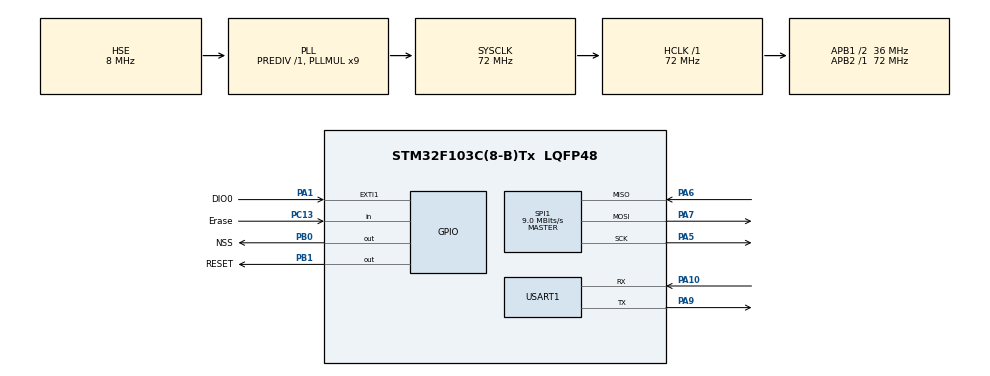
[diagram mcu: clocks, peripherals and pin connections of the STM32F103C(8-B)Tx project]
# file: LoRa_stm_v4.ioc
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Mcu.Family=STM32F1
Mcu.Name=STM32F103C(8-B)Tx
Mcu.Package=LQFP48
NVIC.PriorityGroup=NVIC_PRIORITYGROUP_4
PA1.GPIO_Label=DIO0
PA1.Signal=GPXTI1
PA10.Mode=Asynchronous
PA10.Signal=USART1_RX
PA13.Mode=Serial_Wire
PA13.Signal=SYS_JTMS-SWDIO
PA14.Mode=Serial_Wire
PA14.Signal=SYS_JTCK-SWCLK
PA5.Mode=Full_Duplex_Master
PA5.Signal=SPI1_SCK
PA6.Mode=Full_Duplex_Master
PA6.Signal=SPI1_MISO
PA7.Mode=Full_Duplex_Master
PA7.Signal=SPI1_MOSI
PA9.Mode=Asynchronous
PA9.Signal=USART1_TX
PB0.GPIO_Label=NSS
PB0.PinState=GPIO_PIN_SET
PB0.Signal=GPIO_Output
PB1.GPIO_Label=RESET
PB1.PinState=GPIO_PIN_SET
PB1.Signal=GPIO_Output
PC13-TAMPER-RTC.GPIO_Label=Erase
PC13-TAMPER-RTC.Signal=GPIO_Input
PD0-OSC_IN.Mode=HSE-External-Oscillator
PD0-OSC_IN.Signal=RCC_OSC_IN
PD1-OSC_OUT.Mode=HSE-External-Oscillator
PD1-OSC_OUT.Signal=RCC_OSC_OUT
ProjectManager.HeapSize=0x200
ProjectManager.StackSize=0x400
ProjectManager.TargetToolchain=STM32CubeIDE
RCC.AHBFreq_Value=72000000
RCC.APB1CLKDivider=RCC_HCLK_DIV2
RCC.APB1Freq_Value=36000000
RCC.APB1TimFreq_Value=72000000
RCC.APB2Freq_Value=72000000
RCC.APB2TimFreq_Value=72000000
RCC.HCLKFreq_Value=72000000
RCC.PLLMUL=RCC_PLL_MUL9
RCC.PLLSourceVirtual=RCC_PLLSOURCE_HSE
RCC.SYSCLKFreq_VALUE=72000000
RCC.SYSCLKSource=RCC_SYSCLKSOURCE_PLLCLK
RCC.USBFreq_Value=72000000
SPI1.BaudRatePrescaler=SPI_BAUDRATEPRESCALER_8
SPI1.CalculateBaudRate=9.0 MBits/s
SPI1.Direction=SPI_DIRECTION_2LINES
SPI1.Mode=SPI_MODE_MASTER
SPI1.VirtualType=VM_MASTER
USART1.VirtualMode=VM_ASYNC
board=custom

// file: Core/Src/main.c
/* USER CODE BEGIN Header */
/**
  ******************************************************************************
  * @file           : main.c
  * @brief          : Main program body
  ******************************************************************************
  * @attention
  *
  * Copyright (c) 2026 STMicroelectronics.
  * All rights reserved.
  *
  * This software is licensed under terms that can be found in the LICENSE file
  * in the root directory of this software component.
  * If no LICENSE file comes with this software, it is provided AS-IS.
  *
  ******************************************************************************
  */
/* USER CODE END Header */
#include "main.h"
#include "spi.h"
#include "usart.h"
#include "gpio.h"

/* USER CODE BEGIN Includes */
#include <string.h>
#include <stdio.h>
#include "LoRa.h"
#include <stdint.h>
#include<ctype.h>
#include <stdlib.h>
#include "stm32f1xx.h"
#include "stm32f1xx_hal_flash.h"
#include "stm32f1xx_hal_flash_ex.h"
#define IRQ_RX_DONE        0x40
#define IRQ_TX_DONE        0x08
#define IRQ_PAYLOAD_CRCERR 0x20
#define IRQ_RX_TIMEOUT     0x80
/* USER CODE END Includes */

/* USER CODE BEGIN PTD */
#define FLASH_STORAGE_START  0x0800FC00  // Last 1KB of flash
#define FLASH_MAGIC_NUMBER   0x55AA1234

typedef struct {
    uint32_t magic;          // Validation magic number
    uint32_t counter;        // Persistent counter
    uint32_t device_id;      // Persistent device ID
    uint32_t checksum;       // Simple checksum
} stored_data_t;
/* USER CODE END PTD */

/* USER CODE BEGIN PV */
LoRa myLoRa;
uint16_t LoRa_status;
uint32_t uid[3];
uint8_t Master = 01;
int nodeId = 00;
/* USER CODE END PV */

void SystemClock_Config(void);
/* USER CODE BEGIN PFP */
void flash_erase_node_page(void);
uint8_t flash_read_node_id(void);
void flash_save_node_id(uint8_t node_id);
uint32_t calculate_checksum(uint32_t counter, uint32_t device_id);
char* trim_whitespace(char* str);
void printu(const char *msg);
void print_reset_reason(void);
void STM32_GetUID(uint32_t uid[3]);
void req_Registration(void);
uint8_t wait_for_ack(uint16_t timeout_ms);
uint8_t LoRa_Transmit(uint8_t dst, uint8_t src, const char *payload);
void flush_rx();
void print_hex(const uint8_t *data, uint8_t len);
uint8_t is_printable_string(const uint8_t *data, uint8_t len);
void LoRa_StartPollingnode(void);
void handle_req_data(uint8_t src_id);
void flash_clear_storage(void);
void check_clear_button(void);

/* USER CODE END PFP */

int main(void)
{

  /* MCU Configuration--------------------------------------------------------*/

  /* Reset of all peripherals, Initializes the Flash interface and the Systick. */
  HAL_Init();

  /* USER CODE BEGIN Init */
  MX_GPIO_Init();
  MX_SPI1_Init();
  MX_USART1_UART_Init();
  /* USER CODE END Init */

  /* Configure the system clock */
  SystemClock_Config();

  /* Initialize all configured peripherals */
  MX_GPIO_Init();
  MX_SPI1_Init();
  MX_USART1_UART_Init();
  /* USER CODE BEGIN 2 */

	/* ---------- SX127x RESET ---------- */
	HAL_GPIO_WritePin(RESET_GPIO_Port, RESET_Pin, GPIO_PIN_RESET);
	HAL_Delay(10);
	HAL_GPIO_WritePin(RESET_GPIO_Port, RESET_Pin, GPIO_PIN_SET);
	HAL_Delay(10);

	/* ---------- NSS HIGH (IDLE) ---------- */
	HAL_GPIO_WritePin(NSS_GPIO_Port, NSS_Pin, GPIO_PIN_SET);

	/* ---------- INIT LoRa STRUCT ---------- */
	myLoRa = newLoRa();
	myLoRa.CS_port    = NSS_GPIO_Port;
	myLoRa.CS_pin     = NSS_Pin;
	myLoRa.reset_port = RESET_GPIO_Port;
	myLoRa.reset_pin  = RESET_Pin;
	myLoRa.DIO0_port  = DIO0_GPIO_Port;
	myLoRa.DIO0_pin   = DIO0_Pin;
	myLoRa.hSPIx      = &hspi1;

	LoRa_status = LoRa_init(&myLoRa);
	LoRa_setSyncWord(&myLoRa, 0x34);
	if (LoRa_status != LORA_OK)
	{
	  char err[64];
	  sprintf(err, "LoRa INIT FAILED (%d)\r\n", LoRa_status);
	  printu(err);

	  while (1)
	  {
		  check_clear_button();
	  }
	}

	STM32_GetUID(uid);

	uint8_t saved_node_id = flash_read_node_id();
	if (saved_node_id != 0xFF) {  // 0xFF means invalid/uninitialized
	    nodeId = saved_node_id;
	    char msg[64];
	    sprintf(msg, "Restored Node ID from flash: %02d\r\n", nodeId);
	    printu(msg);
	} else {
	    printu("No valid Node ID in flash\r\n");
	}

	LoRa_enableCRC(&myLoRa, 1);
	LoRa_setCRC(&myLoRa, 1);

	// Set CAD to return to standby mode after completion
	LoRa_setCADExitMode(&myLoRa, 0);

	// Set CAD symbols (optional, default is 1)
	LoRa_setCADSymbols(&myLoRa, 1);

  /* USER CODE END 2 */

  /* Infinite loop */
  /* USER CODE BEGIN WHILE */
  while (1)
  {
	  check_clear_button();

	  if(nodeId>0)
	  {
		  LoRa_StartPollingnode();
	  }
	  else
	  {
		  req_Registration();// NEW: Call polling function in main loop
	  }
    /* USER CODE END WHILE */

  }
}

void SystemClock_Config(void)
{
  RCC_OscInitTypeDef RCC_OscInitStruct = {0};
  RCC_ClkInitTypeDef RCC_ClkInitStruct = {0};

  /** Initializes the RCC Oscillators according to the specified parameters
  * in the RCC_OscInitTypeDef structure.
  */
  RCC_OscInitStruct.OscillatorType = RCC_OSCILLATORTYPE_HSE;
  RCC_OscInitStruct.HSEState = RCC_HSE_ON;
  RCC_OscInitStruct.HSEPredivValue = RCC_HSE_PREDIV_DIV1;
  RCC_OscInitStruct.HSIState = RCC_HSI_ON;
  RCC_OscInitStruct.PLL.PLLState = RCC_PLL_ON;
  RCC_OscInitStruct.PLL.PLLSource = RCC_PLLSOURCE_HSE;
  RCC_OscInitStruct.PLL.PLLMUL = RCC_PLL_MUL9;
  if (HAL_RCC_OscConfig(&RCC_OscInitStruct) != HAL_OK)
  {
    Error_Handler();
  }

  /** Initializes the CPU, AHB and APB buses clocks
  */
  RCC_ClkInitStruct.ClockType = RCC_CLOCKTYPE_HCLK|RCC_CLOCKTYPE_SYSCLK
                              |RCC_CLOCKTYPE_PCLK1|RCC_CLOCKTYPE_PCLK2;
  RCC_ClkInitStruct.SYSCLKSource = RCC_SYSCLKSOURCE_PLLCLK;
  RCC_ClkInitStruct.AHBCLKDivider = RCC_SYSCLK_DIV1;
  RCC_ClkInitStruct.APB1CLKDivider = RCC_HCLK_DIV2;
  RCC_ClkInitStruct.APB2CLKDivider = RCC_HCLK_DIV1;

  if (HAL_RCC_ClockConfig(&RCC_ClkInitStruct, FLASH_LATENCY_2) != HAL_OK)
  {
    Error_Handler();
  }
}

/* USER CODE BEGIN 4 */

// Helper function to trim whitespace
char* trim_whitespace(char* str) {
    char* end;

    // Trim leading space
    while(isspace((unsigned char)*str)) str++;

    if(*str == 0) return str;

    // Trim trailing space
    end = str + strlen(str) - 1;
    while(end > str && isspace((unsigned char)*end)) end--;

    // Write new null terminator
    *(end + 1) = 0;

    return str;
}

void printu(const char *msg)
{
  HAL_UART_Transmit(
      &huart1,
      (uint8_t*)msg,
      strlen(msg),
      100
  );
}

// Print data in hex format
void print_hex(const uint8_t *data, uint8_t len)
{
  char hex[4];
  for(uint8_t i = 0; i < len; i++) {
    sprintf(hex, "%02X ", data[i]);
    printu(hex);
  }
}

// Check if data looks like a printable string
uint8_t is_printable_string(const uint8_t *data, uint8_t len)
{
  uint8_t printable_count = 0;
  for(uint8_t i = 0; i < len; i++) {
    if(data[i] >= 32 && data[i] <= 126) {
      printable_count++;
    }
  }
  return (printable_count * 100 / len) > 80;
}

void STM32_GetUID(uint32_t uid[3])
{
    uid[0] = *(uint32_t*)0x1FFFF7E8;
    uid[1] = *(uint32_t*)0x1FFFF7EC;
    uid[2] = *(uint32_t*)0x1FFFF7F0;
}

void print_reset_reason(void)
{
    uint32_t flags = RCC->CSR;
    if(flags & RCC_CSR_LPWRRSTF) {
        printu("Reset Reason: Low Power (Brown-out)\r\n");
    } else if(flags & RCC_CSR_WWDGRSTF) {
        printu("Reset Reason: Window Watchdog\r\n");
    } else if(flags & RCC_CSR_IWDGRSTF) {
        printu("Reset Reason: Independent Watchdog\r\n");
    } else if(flags & RCC_CSR_SFTRSTF) {
        printu("Reset Reason: Software Reset\r\n");
    } else if(flags & RCC_CSR_PORRSTF) {
        printu("Reset Reason: Power-on Reset\r\n");
    } else if(flags & RCC_CSR_PINRSTF) {
        printu("Reset Reason: External Pin Reset\r\n");
    } else {
        printu("Reset Reason: Unknown\r\n");
    }
    RCC->CSR |= RCC_CSR_RMVF;
}

void req_Registration(void)
{
	char reg_payload[64];
	uint8_t cadResult = LoRa_performCAD(&myLoRa, 100);
	if(cadResult == 0)
	{
		snprintf(reg_payload,sizeof(reg_payload),"%02d | %08lX-%08lX-%08lX | REQ_ADDRESS",
				nodeId,uid[0], uid[1], uid[2]);
		LoRa_transmit(&myLoRa, (uint8_t *)reg_payload, strlen(reg_payload), 200);
		HAL_Delay(500);
		printu("sent \r\n");
		HAL_Delay(500);
	    wait_for_ack(5000);
	}
	else
	{
		printu("skipped channel busy \r\n");
	}
}

uint8_t wait_for_ack(uint16_t timeout_ms)
{
    printu("waiting for ack... \r\n");
    uint8_t rxBuf[128];
    uint32_t start = HAL_GetTick();

    // Clear IRQ flags first
    LoRa_write(&myLoRa, RegIrqFlags, 0xFF);

    LoRa_gotoMode(&myLoRa, STNBY_MODE);
    HAL_Delay(100);
    LoRa_startReceiving(&myLoRa);

    printu("receiving \r\n");

    while ((HAL_GetTick() - start) < timeout_ms)
    {
        // Check if packet received (poll IRQ flags)
        uint8_t irq = LoRa_read(&myLoRa, RegIrqFlags);

        // ❌ CRC error → discard packet
        if (irq & IRQ_PAYLOAD_CRCERR)
        {
            LoRa_write(&myLoRa, RegIrqFlags, 0xFF);
            LoRa_startReceiving(&myLoRa);
            continue;
        }

        // ❌ RX timeout → restart RX
        if (irq & IRQ_RX_TIMEOUT)
        {
            LoRa_write(&myLoRa, RegIrqFlags, 0xFF);
            LoRa_startReceiving(&myLoRa);
            continue;
        }

        // ✅ Valid RX
        if (irq & IRQ_RX_DONE)
        {
            uint8_t fifoAddr = LoRa_read(&myLoRa, RegFiFoRxCurrentAddr);
            LoRa_write(&myLoRa, RegFiFoAddPtr, fifoAddr);
            uint8_t len = LoRa_receive(&myLoRa, rxBuf, sizeof(rxBuf));

            LoRa_write(&myLoRa, RegIrqFlags, 0xFF);

            if (len > 0)
            {
                // FIRST: Print raw data in HEX format to see what we're actually receiving
                printu("Raw HEX: ");
                print_hex(rxBuf, len > 40 ? 40 : len);
                printu("\r\n");

                // SECOND: Only print as string if it looks like printable text
                if (is_printable_string(rxBuf, len))
                {
                    printu("As string: ");
                    // Null terminate for printing (safely)
                    if (len < sizeof(rxBuf)) {
                        rxBuf[len] = '\0';
                        printu((char *)rxBuf);
                    } else {
                        rxBuf[sizeof(rxBuf) - 1] = '\0';
                        printu((char *)rxBuf);
                    }
                    printu("\r\n");
                }
                else
                {
                    printu("(Not a printable string)\r\n");
                }

                // Now parse the data regardless of whether it's printable
                // Try to parse with manual string processing
                char *ptr = (char *)rxBuf;

                // Skip leading spaces
                while (*ptr == ' ') ptr++;

                // Parse first UID
                uint32_t r_uid0 = 0;
                for (int i = 0; i < 8 && isxdigit((unsigned char)*ptr); i++) {
                    char hex[3] = {*ptr, '\0', '\0'};
                    r_uid0 = (r_uid0 << 4) | strtol(hex, NULL, 16);
                    ptr++;
                }

                // Skip dash
                if (*ptr == '-') ptr++;

                // Parse second UID
                uint32_t r_uid1 = 0;
                for (int i = 0; i < 8 && isxdigit((unsigned char)*ptr); i++) {
                    char hex[3] = {*ptr, '\0', '\0'};
                    r_uid1 = (r_uid1 << 4) | strtol(hex, NULL, 16);
                    ptr++;
                }

                // Skip dash
                if (*ptr == '-') ptr++;

                // Parse third UID
                uint32_t r_uid2 = 0;
                for (int i = 0; i < 8 && isxdigit((unsigned char)*ptr); i++) {
                    char hex[3] = {*ptr, '\0', '\0'};
                    r_uid2 = (r_uid2 << 4) | strtol(hex, NULL, 16);
                    ptr++;
                }

                // Skip spaces and pipe
                while (*ptr == ' ') ptr++;
                if (*ptr == '|') ptr++;
                while (*ptr == ' ') ptr++;

                // Parse assigned ID
                uint8_t assignedId = 0;
                if (isdigit((unsigned char)*ptr)) {
                    assignedId = (*ptr - '0') * 10;
                    ptr++;
                    if (isdigit((unsigned char)*ptr)) {
                        assignedId += (*ptr - '0');
                        ptr++;
                    }
                }

                // Skip spaces and pipe
                while (*ptr == ' ') ptr++;
                if (*ptr == '|') ptr++;
                while (*ptr == ' ') ptr++;

                // Parse command
                char cmd[32] = {0};
                int cmd_idx = 0;
                while (*ptr && *ptr != ' ' && *ptr != '\r' && *ptr != '\n' && cmd_idx < 31) {
                    cmd[cmd_idx++] = *ptr;
                    ptr++;
                }
                cmd[cmd_idx] = '\0';

                // Debug parsed values
                char debug[150];
                sprintf(debug, "Manual parse: uid0=%08lX, uid1=%08lX, uid2=%08lX, id=%d, cmd=",
                        r_uid0, r_uid1, r_uid2, assignedId);
                printu(debug);

                // Only print command if it's printable
                if (is_printable_string((uint8_t*)cmd, strlen(cmd)))
                {
                    printu(cmd);
                }
                else
                {
                    printu("[BINARY DATA]");
                }
                printu("\r\n");

                sprintf(debug, "Expected UID: %08lX-%08lX-%08lX\r\n",
                        uid[0], uid[1], uid[2]);
                printu(debug);

                // Check if it's our ACK
                if (strcmp(cmd, "ACK_ADDRESS") == 0)
                {
                    if (r_uid0 == uid[0] && r_uid1 == uid[1] && r_uid2 == uid[2])
                    {
                        nodeId = assignedId;
                        printu("Node ID assigned: ");
                        char b[8];
                        sprintf(b, "%02d\r\n", nodeId);
                        printu(b);

                        LoRa_gotoMode(&myLoRa, STNBY_MODE);
                        HAL_Delay(10);

                        // Send confirmation back
                        LoRa_Transmit(Master, nodeId, "ACK_ADDRESS");
                        // SAVE TO FLASH if nodeId > 0
						if (nodeId > 0) {
							flash_save_node_id(nodeId);
							printu("Node ID saved to flash\r\n");
						}
                        return nodeId;
                    }
                    else
                    {
                        printu("UID mismatch!\r\n");
                    }
                }
                else
                {
                    printu("Wrong command\r\n");
                }

                // Restart receiving
                LoRa_startReceiving(&myLoRa);
            }
        }

        HAL_Delay(1);
    }

    printu("Timeout waiting for ACK\r\n");
    LoRa_gotoMode(&myLoRa, STNBY_MODE);
    return 0xFF;
}

uint8_t LoRa_Transmit(uint8_t dst, uint8_t src, const char *payload)
{
    char txBuf[64];

    snprintf(txBuf, sizeof(txBuf),
             "%02d | %02d | %s",
             dst,
             src,
             payload);
    printu("TX -> ");
    printu(txBuf);
    printu("\r\n");

    uint16_t tx = LoRa_transmit(
                    &myLoRa,
                    (uint8_t *)txBuf,
                    strlen(txBuf),
                    100
                  );
    if(tx==1)
    {
    	return 1;
    }
    else
    {
    	return 0;
    }
}

// NEW: Main polling function with packet filtering
// NEW: Optimized polling function with time-based checking
// NEW: Simple and reliable polling function
void LoRa_StartPollingnode(void)
{
    static uint8_t isReceiving = 0;
    uint8_t rxBuf[128];

    // Only poll if we have a valid node ID
    if (nodeId == 0) {
        return;
    }

    // Start receiving if not already
    if (!isReceiving) {
        LoRa_gotoMode(&myLoRa, STNBY_MODE);
        HAL_Delay(10);
        LoRa_startReceiving(&myLoRa);
        isReceiving = 1;
        printu("Started receiving mode\r\n");
    }

    // Check if packet received (poll IRQ flags)
    uint8_t irq = LoRa_read(&myLoRa, RegIrqFlags);

    // ❌ CRC error → discard packet
    if (irq & IRQ_PAYLOAD_CRCERR) {
        LoRa_write(&myLoRa, RegIrqFlags, 0xFF);
        LoRa_startReceiving(&myLoRa);
        return;
    }

    // ❌ RX timeout → restart RX
    if (irq & IRQ_RX_TIMEOUT) {
        LoRa_write(&myLoRa, RegIrqFlags, 0xFF);
        LoRa_startReceiving(&myLoRa);
        return;
    }

    // ✅ Valid RX
    if (irq & IRQ_RX_DONE) {
        uint8_t fifoAddr = LoRa_read(&myLoRa, RegFiFoRxCurrentAddr);
        LoRa_write(&myLoRa, RegFiFoAddPtr, fifoAddr);
        uint8_t len = LoRa_receive(&myLoRa, rxBuf, sizeof(rxBuf));

        LoRa_write(&myLoRa, RegIrqFlags, 0xFF);

        if (len > 0 && len <= sizeof(rxBuf)) {
            rxBuf[len] = '\0';

            // Print what we received
            printu("RX: ");
            printu((char *)rxBuf);
            printu("\r\n");

            // Simple validation - check if it contains "REQ_DATA" and is for us
            char *req_data_ptr = strstr((char *)rxBuf, "REQ_DATA");
            if (req_data_ptr != NULL) {
                // Try to parse quickly
                uint8_t dst_id = 0;
                char *ptr = (char *)rxBuf;

                // Parse destination ID (first 2 digits)
                if (isdigit(ptr[0]) && isdigit(ptr[1])) {
                    dst_id = (ptr[0] - '0') * 10 + (ptr[1] - '0');
                }

                // Check if it's for us
                if (dst_id == nodeId || dst_id == 0xFF) {
                    // Quick check for source ID
                    uint8_t src_id = 0;
                    char *pipe1 = strchr(ptr, '|');
                    if (pipe1) {
                        pipe1++; // Skip '|'
                        while (*pipe1 == ' ') pipe1++;

                        if (isdigit(pipe1[0]) && isdigit(pipe1[1])) {
                            src_id = (pipe1[0] - '0') * 10 + (pipe1[1] - '0');

                            if (src_id == Master) {
                                printu("REQ_DATA from master received!\r\n");
                                handle_req_data(src_id);
                            }
                        }
                    }
                }
            }
        }

        // Restart receiving
        LoRa_startReceiving(&myLoRa);
    }
}
// NEW: Faster response function
void handle_req_data(uint8_t src_id)
{
    // Create and send response immediately
    char sensor_data[64];

    // Get sensor data (simulated or real)
    uint16_t temperature = 25;
    uint16_t humidity = 60;

    // Quick format - simpler to parse
    snprintf(sensor_data, sizeof(sensor_data),
             "%02d | %02d | DATA|T=%d|H=%d",
             src_id, nodeId, temperature, humidity);

    // Send immediately
    printu("TX -> ");
    printu(sensor_data);
    printu("\r\n");

    // Use LoRa_transmit directly for speed
    LoRa_transmit(&myLoRa, (uint8_t *)sensor_data, strlen(sensor_data), 100);
}

void flush_rx()
{
    uint8_t tmp[128];
    while (LoRa_receive(&myLoRa, tmp, sizeof(tmp)) > 0) {
        HAL_Delay(2);
    }
}

// ==================== FLASH STORAGE FOR NODE ID ====================

void flash_erase_node_page(void) {
    HAL_FLASH_Unlock();

    FLASH_EraseInitTypeDef erase = {0};
    erase.TypeErase = FLASH_TYPEERASE_PAGES;
    erase.PageAddress = FLASH_STORAGE_START;
    erase.NbPages = 1;  // 1KB page for F103

    uint32_t page_error = 0;
    HAL_FLASHEx_Erase(&erase, &page_error);

    HAL_FLASH_Lock();
}

uint8_t flash_read_node_id(void) {
    stored_data_t* data = (stored_data_t*)FLASH_STORAGE_START;

    // Check if data is valid
    if (data->magic == FLASH_MAGIC_NUMBER &&
        data->checksum == calculate_checksum(data->counter, data->device_id)) {

        // Return node ID (stored in counter field for simplicity)
        // Only return if it's a valid node ID (1-99)
        if (data->counter <= 99) {
            return (uint8_t)data->counter;
        }
    }

    return 0xFF;  // Invalid or no data
}

void flash_save_node_id(uint8_t node_id) {
    stored_data_t data;

    // Generate device ID from UID
    uint32_t device_id = (uid[0] ^ uid[1] ^ uid[2]) & 0x00FFFFFF;

    // Fill the structure
    data.magic = FLASH_MAGIC_NUMBER;
    data.counter = node_id;           // Store node ID in counter field
    data.device_id = device_id;       // Store device ID
    data.checksum = calculate_checksum(data.counter, data.device_id);

    // Erase the flash page before writing
    flash_erase_node_page();

    HAL_FLASH_Unlock();

    // Write the data structure to flash
    uint8_t* data_ptr = (uint8_t*)&data;
    for (uint32_t i = 0; i < sizeof(data); i += 4) {
        HAL_FLASH_Program(FLASH_TYPEPROGRAM_WORD,
                         FLASH_STORAGE_START + i,
                         *(uint32_t*)(data_ptr + i));
    }

    HAL_FLASH_Lock();

    // Verify the write
    uint8_t verify_id = flash_read_node_id();
    if (verify_id != node_id) {
        printu("Flash write verification failed!\r\n");
    } else {
        char msg[32];
        sprintf(msg, "Node ID %02d saved successfully\r\n", node_id);
        printu(msg);
    }
}

uint32_t calculate_checksum(uint32_t counter, uint32_t device_id) {
    // Simple checksum: XOR with a constant
    return counter ^ device_id ^ 0xDEADBEEF;
}

void flash_clear_storage(void) {
    printu("\r\n=== CLEARING FLASH STORAGE ===\r\n");

    // Erase the flash page
    flash_erase_node_page();

    // Reset node ID in RAM
    nodeId = 0;

    printu("✓ Flash storage cleared\r\n");
    printu("✓ Node ID reset to 00\r\n");
    printu("=== Device will restart registration ===\r\n\r\n");

    // Optional: Blink LED to indicate success
    for(int i = 0; i < 5; i++) {
        HAL_GPIO_TogglePin(GPIOD, GPIO_PIN_2);  // Use your LED pin
        HAL_Delay(200);
    }
}

void check_clear_button(void) {
    static uint32_t press_start_time = 0;
    static uint8_t is_clearing = 0;

    // Button is active LOW (pressed = 0, released = 1 with pull-up)
    if (HAL_GPIO_ReadPin(Erase_GPIO_Port, Erase_Pin) == GPIO_PIN_RESET) {
        // Button is pressed
        if (press_start_time == 0) {
            // Start timing
            press_start_time = HAL_GetTick();
            printu("[Button pressed - hold for 3s to clear]\r\n");
        }
        else if (!is_clearing && (HAL_GetTick() - press_start_time) > 3000) {
            // 3 second long press detected
            is_clearing = 1;
            flash_clear_storage();

            // Wait for button release
            while (HAL_GPIO_ReadPin(Erase_GPIO_Port, Erase_Pin) == GPIO_PIN_RESET) {
                HAL_Delay(10);
            }

            is_clearing = 0;
        }
    }
    else {
        // Button released
        if (press_start_time != 0 && !is_clearing) {
            uint32_t press_duration = HAL_GetTick() - press_start_time;

            if (press_duration < 3000) {
                char msg[50];
                sprintf(msg, "[Button released after %lums]\r\n", press_duration);
                printu(msg);
            }
        }
        press_start_time = 0;
    }
}
/* USER CODE END 4 */

void Error_Handler(void)
{
  __disable_irq();
  while (1)
  {
  }
}
